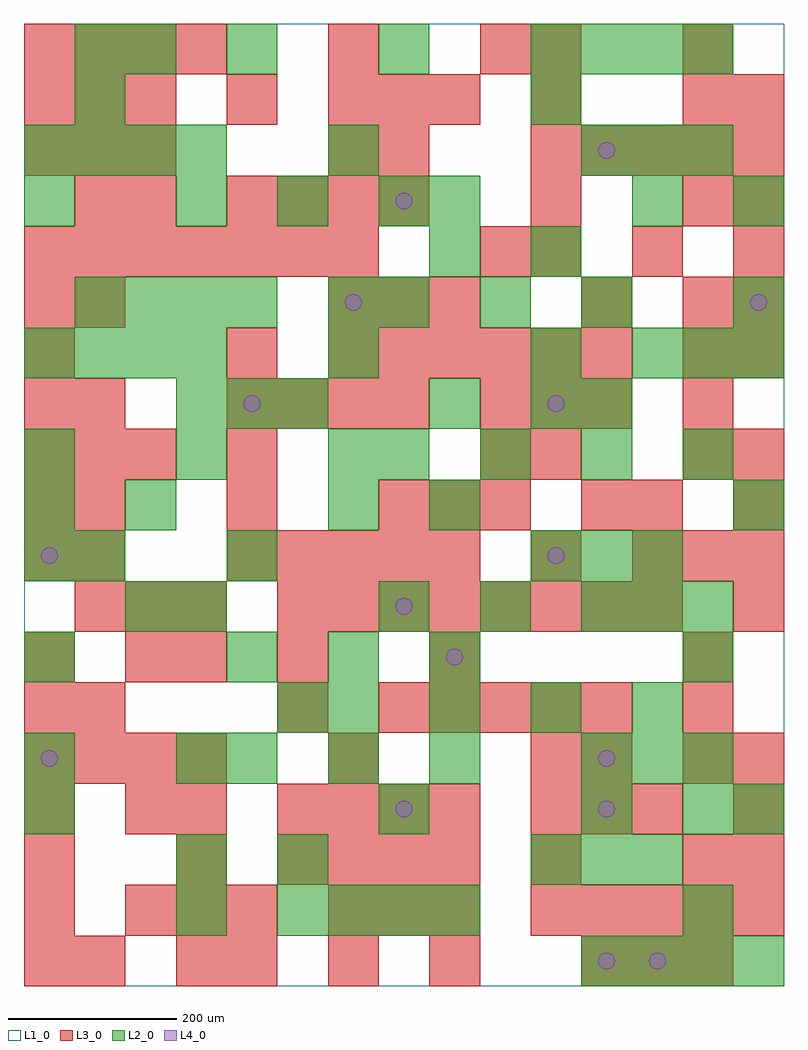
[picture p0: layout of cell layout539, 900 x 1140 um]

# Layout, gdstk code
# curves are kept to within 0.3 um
import gdstk
lib = gdstk.Library(unit=1e-6, precision=1e-09)
def R(c, l, rs):  # rectangles x0, y0, x1, y1
    for r in rs: c.add(gdstk.rectangle(r[:2], r[2:], *l))
def A(c, l, x, y, w, h, nx, ny, dx, dy):  # array of equal rectangles
    R(c, l, [(x+i*dx, y+j*dy, x+i*dx+w, y+j*dy+h) for i in range(nx) for j in range(ny)])
def P(c, l, *ps):  # polygons
    for p in ps: c.add(gdstk.Polygon(p, *l))
L1_0 = (1, 0)
L2_0 = (2, 0)
L3_0 = (3, 0)
L4_0 = (4, 0)

layout539 = lib.new_cell('layout539')
R(layout539, L1_0, [(0,0,900,1140)])
A(layout539, L2_0, 660, 0, 60, 60, 4, 1, 60, 0)
A(layout539, L2_0, 300, 60, 60, 60, 4, 1, 60, 0)
A(layout539, L2_0, 600, 120, 60, 60, 3, 2, 60, 360)
A(layout539, L2_0, 0, 240, 60, 60, 1, 3, 0, 120)
A(layout539, L2_0, 240, 240, 60, 60, 3, 2, 120, 120)
A(layout539, L2_0, 660, 240, 60, 60, 3, 2, 60, 720)
A(layout539, L2_0, 360, 300, 60, 60, 4, 1, 120, 0)
A(layout539, L2_0, 420, 420, 60, 60, 3, 2, 120, 360)
A(layout539, L2_0, 0, 600, 60, 60, 3, 1, 180, 0)
A(layout539, L2_0, 420, 600, 60, 60, 4, 1, 120, 0)
A(layout539, L2_0, 180, 660, 60, 60, 3, 1, 60, 0)
A(layout539, L2_0, 0, 720, 60, 60, 4, 2, 60, 240)
A(layout539, L2_0, 720, 720, 60, 60, 3, 1, 60, 0)
A(layout539, L2_0, 60, 780, 60, 60, 4, 1, 60, 0)
A(layout539, L2_0, 180, 900, 60, 60, 3, 1, 120, 0)
A(layout539, L2_0, 240, 1080, 60, 60, 3, 1, 180, 0)
A(layout539, L2_0, 660, 1080, 60, 60, 3, 1, 60, 0)
R(layout539, L2_0, [(180,60,240,120), (780,60,840,120), (180,120,240,180), (300,120,360,180), (0,180,60,240), (420,180,480,240), (660,180,720,240), (780,180,840,240), (840,180,900,240), (180,240,240,300), (300,300,360,360), (780,360,840,420), (120,420,180,480), (180,420,240,480), (720,420,780,480), (780,420,840,480), (60,480,120,540), (240,480,300,540), (0,540,60,600), (120,540,180,600), (360,540,420,600), (480,540,540,600), (840,540,900,600), (480,660,540,720), (600,660,660,720), (660,660,720,720), (360,720,420,780), (600,720,660,780), (360,780,420,840), (840,780,900,840), (480,840,540,900), (600,840,660,900), (0,900,60,960), (480,900,540,960), (720,900,780,960), (840,900,900,960), (360,960,420,1020), (60,1020,120,1080), (600,1020,660,1080), (60,1080,120,1140), (120,1080,180,1140)])
A(layout539, L3_0, 0, 0, 60, 60, 1, 4, 0, 60)
A(layout539, L3_0, 240, 0, 60, 60, 3, 1, 120, 0)
A(layout539, L3_0, 660, 0, 60, 60, 3, 1, 60, 0)
A(layout539, L3_0, 120, 60, 60, 60, 3, 1, 60, 0)
A(layout539, L3_0, 360, 60, 60, 60, 3, 2, 60, 720)
A(layout539, L3_0, 600, 60, 60, 60, 5, 2, 60, 900)
A(layout539, L3_0, 300, 120, 60, 60, 4, 2, 60, 60)
A(layout539, L3_0, 840, 120, 60, 60, 1, 3, 0, 60)
A(layout539, L3_0, 600, 180, 60, 60, 3, 1, 60, 0)
A(layout539, L3_0, 0, 240, 60, 60, 4, 2, 60, 840)
A(layout539, L3_0, 780, 240, 60, 60, 1, 3, 0, 60)
A(layout539, L3_0, 60, 300, 60, 60, 1, 3, 0, 180)
A(layout539, L3_0, 420, 300, 60, 60, 5, 1, 60, 0)
A(layout539, L3_0, 60, 420, 60, 60, 3, 1, 60, 0)
A(layout539, L3_0, 300, 420, 60, 60, 8, 1, 60, 0)
A(layout539, L3_0, 240, 480, 60, 60, 5, 1, 60, 0)
A(layout539, L3_0, 720, 480, 60, 60, 3, 1, 60, 0)
A(layout539, L3_0, 60, 540, 60, 60, 3, 1, 180, 0)
A(layout539, L3_0, 0, 600, 60, 60, 3, 2, 60, 360)
A(layout539, L3_0, 540, 600, 60, 60, 1, 3, 0, 240)
A(layout539, L3_0, 780, 600, 60, 60, 1, 4, 0, 60)
A(layout539, L3_0, 0, 660, 60, 60, 1, 3, 0, 60)
A(layout539, L3_0, 240, 660, 60, 60, 4, 2, 60, 240)
A(layout539, L3_0, 540, 660, 60, 60, 3, 1, 60, 0)
A(layout539, L3_0, 360, 720, 60, 60, 6, 1, 60, 0)
A(layout539, L3_0, 840, 780, 60, 60, 1, 3, 0, 120)
A(layout539, L3_0, 0, 840, 60, 60, 7, 1, 60, 0)
A(layout539, L3_0, 600, 840, 60, 60, 3, 1, 120, 0)
A(layout539, L3_0, 0, 1020, 60, 60, 3, 1, 60, 0)
A(layout539, L3_0, 360, 1020, 60, 60, 3, 1, 60, 0)
R(layout539, L3_0, [(60,0,120,60), (180,0,240,60), (180,120,240,180), (600,120,660,180), (780,120,840,180), (120,180,180,240), (180,180,240,240), (360,240,420,300), (600,240,660,300), (660,240,720,300), (0,300,60,360), (300,300,360,360), (0,360,60,420), (120,360,180,420), (180,360,240,420), (300,360,360,420), (480,360,540,420), (840,420,900,480), (0,480,60,540), (600,480,660,540), (0,540,60,600), (480,540,540,600), (540,540,600,600), (660,540,720,600), (720,540,780,600), (840,540,900,600), (240,600,300,660), (600,600,660,660), (840,600,900,660), (240,720,300,780), (840,720,900,780), (60,780,120,840), (660,780,720,840), (60,900,120,960), (120,900,180,960), (600,900,660,960), (780,900,840,960), (360,960,420,1020), (420,960,480,1020), (240,1020,300,1080), (600,1020,660,1080), (780,1020,840,1080), (360,1080,420,1140), (600,1080,660,1140), (780,1080,840,1140)])
P(layout539, L4_0, [(40,270),(39.239,273.827),(37.071,277.071),(33.827,279.239),(30,280),(26.173,279.239),(22.929,277.071),(20.761,273.827),(20,270),(20.761,266.173),(22.929,262.929),(26.173,260.761),(30,260),(33.827,260.761),(37.071,262.929),(39.239,266.173)],
  [(40,510),(39.239,513.827),(37.071,517.071),(33.827,519.239),(30,520),(26.173,519.239),(22.929,517.071),(20.761,513.827),(20,510),(20.761,506.173),(22.929,502.929),(26.173,500.761),(30,500),(33.827,500.761),(37.071,502.929),(39.239,506.173)],
  [(280,690),(279.239,693.827),(277.071,697.071),(273.827,699.239),(270,700),(266.173,699.239),(262.929,697.071),(260.761,693.827),(260,690),(260.761,686.173),(262.929,682.929),(266.173,680.761),(270,680),(273.827,680.761),(277.071,682.929),(279.239,686.173)],
  [(400,810),(399.239,813.827),(397.071,817.071),(393.827,819.239),(390,820),(386.173,819.239),(382.929,817.071),(380.761,813.827),(380,810),(380.761,806.173),(382.929,802.929),(386.173,800.761),(390,800),(393.827,800.761),(397.071,802.929),(399.239,806.173)],
  [(460,210),(459.239,213.827),(457.071,217.071),(453.827,219.239),(450,220),(446.173,219.239),(442.929,217.071),(440.761,213.827),(440,210),(440.761,206.173),(442.929,202.929),(446.173,200.761),(450,200),(453.827,200.761),(457.071,202.929),(459.239,206.173)],
  [(460,450),(459.239,453.827),(457.071,457.071),(453.827,459.239),(450,460),(446.173,459.239),(442.929,457.071),(440.761,453.827),(440,450),(440.761,446.173),(442.929,442.929),(446.173,440.761),(450,440),(453.827,440.761),(457.071,442.929),(459.239,446.173)],
  [(460,930),(459.239,933.827),(457.071,937.071),(453.827,939.239),(450,940),(446.173,939.239),(442.929,937.071),(440.761,933.827),(440,930),(440.761,926.173),(442.929,922.929),(446.173,920.761),(450,920),(453.827,920.761),(457.071,922.929),(459.239,926.173)],
  [(520,390),(519.239,393.827),(517.071,397.071),(513.827,399.239),(510,400),(506.173,399.239),(502.929,397.071),(500.761,393.827),(500,390),(500.761,386.173),(502.929,382.929),(506.173,380.761),(510,380),(513.827,380.761),(517.071,382.929),(519.239,386.173)],
  [(640,510),(639.239,513.827),(637.071,517.071),(633.827,519.239),(630,520),(626.173,519.239),(622.929,517.071),(620.761,513.827),(620,510),(620.761,506.173),(622.929,502.929),(626.173,500.761),(630,500),(633.827,500.761),(637.071,502.929),(639.239,506.173)],
  [(640,690),(639.239,693.827),(637.071,697.071),(633.827,699.239),(630,700),(626.173,699.239),(622.929,697.071),(620.761,693.827),(620,690),(620.761,686.173),(622.929,682.929),(626.173,680.761),(630,680),(633.827,680.761),(637.071,682.929),(639.239,686.173)],
  [(700,30),(699.239,33.827),(697.071,37.071),(693.827,39.239),(690,40),(686.173,39.239),(682.929,37.071),(680.761,33.827),(680,30),(680.761,26.173),(682.929,22.929),(686.173,20.761),(690,20),(693.827,20.761),(697.071,22.929),(699.239,26.173)],
  [(700,210),(699.239,213.827),(697.071,217.071),(693.827,219.239),(690,220),(686.173,219.239),(682.929,217.071),(680.761,213.827),(680,210),(680.761,206.173),(682.929,202.929),(686.173,200.761),(690,200),(693.827,200.761),(697.071,202.929),(699.239,206.173)],
  [(700,270),(699.239,273.827),(697.071,277.071),(693.827,279.239),(690,280),(686.173,279.239),(682.929,277.071),(680.761,273.827),(680,270),(680.761,266.173),(682.929,262.929),(686.173,260.761),(690,260),(693.827,260.761),(697.071,262.929),(699.239,266.173)],
  [(700,990),(699.239,993.827),(697.071,997.071),(693.827,999.239),(690,1000),(686.173,999.239),(682.929,997.071),(680.761,993.827),(680,990),(680.761,986.173),(682.929,982.929),(686.173,980.761),(690,980),(693.827,980.761),(697.071,982.929),(699.239,986.173)],
  [(760,30),(759.239,33.827),(757.071,37.071),(753.827,39.239),(750,40),(746.173,39.239),(742.929,37.071),(740.761,33.827),(740,30),(740.761,26.173),(742.929,22.929),(746.173,20.761),(750,20),(753.827,20.761),(757.071,22.929),(759.239,26.173)],
  [(880,810),(879.239,813.827),(877.071,817.071),(873.827,819.239),(870,820),(866.173,819.239),(862.929,817.071),(860.761,813.827),(860,810),(860.761,806.173),(862.929,802.929),(866.173,800.761),(870,800),(873.827,800.761),(877.071,802.929),(879.239,806.173)])

lib.write_gds('layout539.gds')
